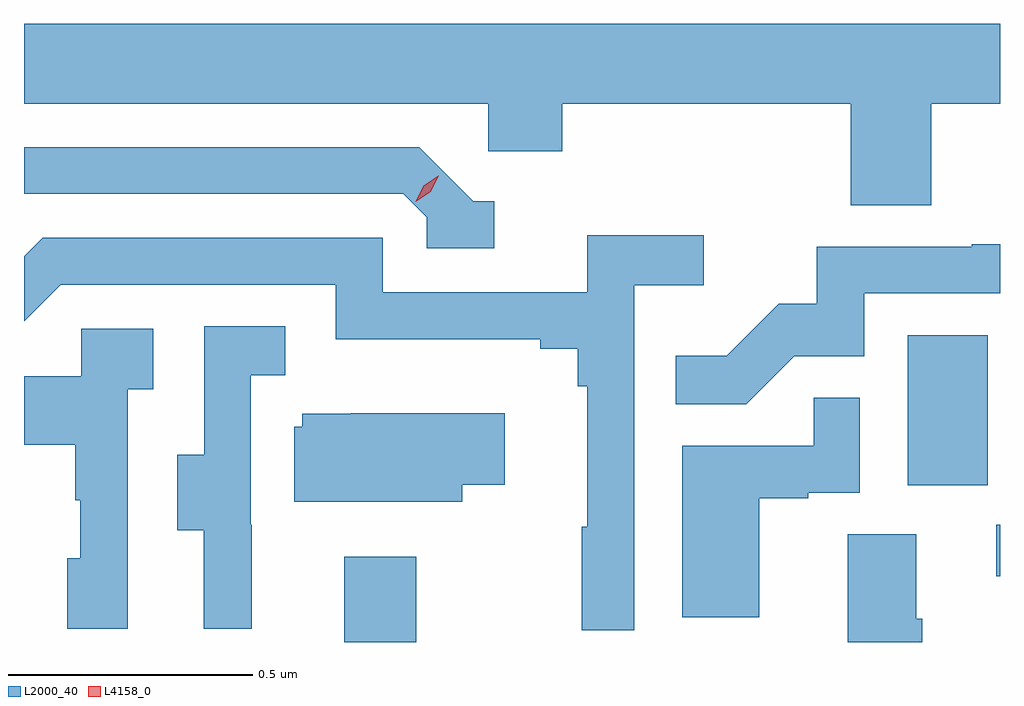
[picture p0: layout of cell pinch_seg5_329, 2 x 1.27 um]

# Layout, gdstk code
import gdstk
lib = gdstk.Library(unit=1e-6, precision=1e-09)
def R(c, l, rs):  # rectangles x0, y0, x1, y1
    for r in rs: c.add(gdstk.rectangle(r[:2], r[2:], *l))
def P(c, l, *ps):  # polygons
    for p in ps: c.add(gdstk.Polygon(p, *l))
L2000_40 = (2000, 40)
L4158_0 = (4158, 0)

pinch_seg5_329 = lib.new_cell('pinch_seg5_329')
R(pinch_seg5_329, L2000_40, [(934.769,886.292,934.917,886.468), (936.105,886.428,936.113,886.533), (935.924,886.614,936.088,886.921)])
P(pinch_seg5_329, L2000_40, [(935.972,887.396),(936.113,887.396),(936.113,887.56),(934.113,887.56),(934.113,887.396),(935.064,887.396),(935.064,887.298),(935.216,887.298),(935.216,887.396),(935.807,887.396),(935.807,887.188),(935.972,887.188)],
  [(935.077,887.196),(935.034,887.196),(934.923,887.307),(934.113,887.307),(934.113,887.211),(934.89,887.211),(934.938,887.163),(934.938,887.1),(935.077,887.1)],
  [(935.364,887.024),(935.506,887.024),(935.506,887.126),(935.267,887.126),(935.267,887.01),(934.848,887.01),(934.848,887.121),(934.151,887.121),(934.113,887.083),(934.113,886.95),(934.188,887.025),(934.752,887.025),(934.752,886.913),(935.171,886.913),(935.171,886.894),(935.248,886.894),(935.248,886.817),(935.267,886.817),(935.267,886.529),(935.256,886.529),(935.256,886.317),(935.364,886.317)],
  [(935.691,886.878),(935.835,886.878),(935.835,887.007),(936.113,887.007),(936.113,887.108),(936.055,887.108),(936.055,887.103),(935.737,887.103),(935.737,886.986),(935.66,886.986),(935.553,886.879),(935.449,886.879),(935.449,886.78),(935.593,886.78)],
  [(934.58,886.533),(934.578,886.533),(934.578,886.839),(934.648,886.839),(934.648,886.94),(934.482,886.94),(934.482,886.677),(934.427,886.677),(934.427,886.522),(934.481,886.522),(934.481,886.32),(934.58,886.32)],
  [(934.326,886.811),(934.378,886.811),(934.378,886.935),(934.23,886.935),(934.23,886.837),(934.113,886.837),(934.113,886.697),(934.218,886.697),(934.218,886.583),(934.228,886.583),(934.228,886.464),(934.202,886.464),(934.202,886.32),(934.326,886.32)],
  [(935.62,886.587),(935.72,886.587),(935.72,886.599),(935.826,886.599),(935.826,886.793),(935.731,886.793),(935.731,886.695),(935.462,886.695),(935.462,886.344),(935.62,886.344)],
  [(935.011,886.615),(935.098,886.615),(935.098,886.762),(934.783,886.762),(934.783,886.761),(934.683,886.761),(934.683,886.734),(934.667,886.734),(934.667,886.58),(935.011,886.58)],
  [(935.801,886.514),(935.801,886.292),(935.954,886.292),(935.954,886.34),(935.941,886.34),(935.941,886.514)])
P(pinch_seg5_329, L4158_0, [(934.916,887.195),(934.916,887.196),(934.932,887.228),(934.962,887.248),(934.963,887.248),(934.963,887.248),(934.947,887.215),(934.916,887.195)])

lib.write_gds('pinch_seg5_329.gds')
